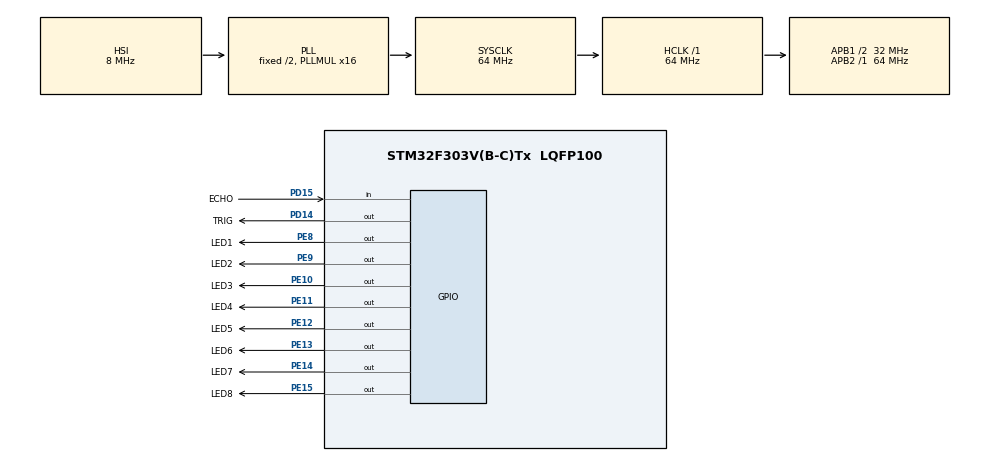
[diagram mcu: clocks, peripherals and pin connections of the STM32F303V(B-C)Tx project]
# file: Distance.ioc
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Mcu.Family=STM32F3
Mcu.Name=STM32F303V(B-C)Tx
Mcu.Package=LQFP100
NVIC.PriorityGroup=NVIC_PRIORITYGROUP_4
NVIC.TIM6_DAC_IRQn=true\:0\:0\:false\:false\:true\:true
PD14.GPIO_Label=TRIG
PD14.Signal=GPIO_Output
PD15.GPIO_Label=ECHO
PD15.Signal=GPIO_Input
PE10.GPIO_Label=LED3
PE10.Signal=GPIO_Output
PE11.GPIO_Label=LED4
PE11.Signal=GPIO_Output
PE12.GPIO_Label=LED5
PE12.Signal=GPIO_Output
PE13.GPIO_Label=LED6
PE13.Signal=GPIO_Output
PE14.GPIO_Label=LED7
PE14.Signal=GPIO_Output
PE15.GPIO_Label=LED8
PE15.Signal=GPIO_Output
PE8.GPIO_Label=LED1
PE8.Signal=GPIO_Output
PE9.GPIO_Label=LED2
PE9.Signal=GPIO_Output
ProjectManager.HeapSize=0x200
ProjectManager.StackSize=0x400
ProjectManager.TargetToolchain=SW4STM32
RCC.AHBFreq_Value=64000000
RCC.APB1CLKDivider=RCC_HCLK_DIV2
RCC.APB1Freq_Value=32000000
RCC.APB1TimFreq_Value=64000000
RCC.APB2Freq_Value=64000000
RCC.APB2TimFreq_Value=64000000
RCC.CortexFreq_Value=64000000
RCC.HCLKFreq_Value=64000000
RCC.HSE_VALUE=8000000
RCC.HSI_VALUE=8000000
RCC.LSE_VALUE=32768
RCC.PLLMUL=RCC_PLL_MUL16
RCC.SYSCLKFreq_VALUE=64000000
RCC.SYSCLKSourceVirtual=RCC_SYSCLKSOURCE_PLLCLK
RCC.USBFreq_Value=64000000
TIM6.Period=10000
TIM6.Prescaler=63
VP_TIM6_VS_ClockSourceINT.Mode=Enable_Timer
board=Distance

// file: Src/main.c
/**
  ******************************************************************************
  * File Name          : main.c
  * Description        : Main program body
  ******************************************************************************
  ** This notice applies to any and all portions of this file
  * that are not between comment pairs USER CODE BEGIN and
  * USER CODE END. Other portions of this file, whether
  * inserted by the user or by software development tools
  * are owned by their respective copyright owners.
  *
  * COPYRIGHT(c) 2017 STMicroelectronics
  *
  * Redistribution and use in source and binary forms, with or without modification,
  * are permitted provided that the following conditions are met:
  *   1. Redistributions of source code must retain the above copyright notice,
  *      this list of conditions and the following disclaimer.
  *   2. Redistributions in binary form must reproduce the above copyright notice,
  *      this list of conditions and the following disclaimer in the documentation
  *      and/or other materials provided with the distribution.
  *   3. Neither the name of STMicroelectronics nor the names of its contributors
  *      may be used to endorse or promote products derived from this software
  *      without specific prior written permission.
  *
  * THIS SOFTWARE IS PROVIDED BY THE COPYRIGHT HOLDERS AND CONTRIBUTORS "AS IS"
  * AND ANY EXPRESS OR IMPLIED WARRANTIES, INCLUDING, BUT NOT LIMITED TO, THE
  * IMPLIED WARRANTIES OF MERCHANTABILITY AND FITNESS FOR A PARTICULAR PURPOSE ARE
  * DISCLAIMED. IN NO EVENT SHALL THE COPYRIGHT HOLDER OR CONTRIBUTORS BE LIABLE
  * FOR ANY DIRECT, INDIRECT, INCIDENTAL, SPECIAL, EXEMPLARY, OR CONSEQUENTIAL
  * DAMAGES (INCLUDING, BUT NOT LIMITED TO, PROCUREMENT OF SUBSTITUTE GOODS OR
  * SERVICES; LOSS OF USE, DATA, OR PROFITS; OR BUSINESS INTERRUPTION) HOWEVER
  * CAUSED AND ON ANY THEORY OF LIABILITY, WHETHER IN CONTRACT, STRICT LIABILITY,
  * OR TORT (INCLUDING NEGLIGENCE OR OTHERWISE) ARISING IN ANY WAY OUT OF THE USE
  * OF THIS SOFTWARE, EVEN IF ADVISED OF THE POSSIBILITY OF SUCH DAMAGE.
  *
  ******************************************************************************
  */
#include "main.h"
#include "stm32f3xx_hal.h"
#include "tim.h"
#include "gpio.h"
#define SystemCoreClockInMHz (SystemCoreClock/1000000)

/* USER CODE BEGIN PV */
/* Private variables ---------------------------------------------------------*/

/* USER CODE END PV */

void SystemClock_Config(void);

/* USER CODE BEGIN PFP */
/* Private function prototypes -----------------------------------------------*/
volatile uint32_t tim6_overflows = 0;
int leds[8] = {LED1_Pin, LED2_Pin, LED3_Pin, LED4_Pin, LED5_Pin, LED6_Pin, LED7_Pin, LED8_Pin};

void light(int num) {
	for (int i=0; i<8; i++) {
		HAL_GPIO_WritePin(GPIOE, leds[i], GPIO_PIN_RESET);
	}
	for (int i=0; i<num; i++) {
		HAL_GPIO_WritePin(GPIOE, leds[i], GPIO_PIN_SET);
	}
}

void HAL_TIM_PeriodElapsedCallback(TIM_HandleTypeDef *htim) {
	if( htim->Instance == TIM6 ) {
		++tim6_overflows;
	}
}

inline void TIM6_reinit() {
	HAL_TIM_Base_Stop(&htim6);
    __HAL_TIM_SET_PRESCALER( &htim6, (SystemCoreClockInMHz-1) );
    __HAL_TIM_SET_COUNTER( &htim6, 0 );
    tim6_overflows = 0;
    HAL_TIM_Base_Start(&htim6);
}

inline uint32_t TIM6_time() {
	__HAL_TIM_DISABLE_IT(&htim6, TIM_IT_UPDATE);
	uint32_t res = tim6_overflows * 10000 + __HAL_TIM_GET_COUNTER(&htim6);
	__HAL_TIM_ENABLE_IT(&htim6, TIM_IT_UPDATE);
	return res;
}

inline void TIM6_delay(uint32_t useconds) {
	uint32_t start = TIM6_time();
	while(TIM6_time() < start+useconds) {
	}
}

/* USER CODE END PFP */

int main(void)
{

  /* USER CODE BEGIN 1 */
	extern void initialise_monitor_handles(void);
	initialise_monitor_handles();
  /* USER CODE END 1 */

  /* MCU Configuration----------------------------------------------------------*/

  /* Reset of all peripherals, Initializes the Flash interface and the Systick. */
  HAL_Init();

  /* Configure the system clock */
  SystemClock_Config();

  /* Initialize all configured peripherals */
  MX_GPIO_Init();
  MX_TIM6_Init();

  /* Infinite loop */
  /* USER CODE BEGIN WHILE */
  while (1) {
	  HAL_GPIO_WritePin(TRIG_GPIO_Port, TRIG_Pin, GPIO_PIN_SET);
	  TIM6_delay(16);
	  HAL_GPIO_WritePin(TRIG_GPIO_Port, TRIG_Pin, GPIO_PIN_RESET);

	  while(HAL_GPIO_ReadPin(ECHO_GPIO_Port, ECHO_Pin) == GPIO_PIN_RESET ) {
	  }
	  uint32_t start = TIM6_time();
	  while(HAL_GPIO_ReadPin(ECHO_GPIO_Port, ECHO_Pin) == GPIO_PIN_SET ) {
	  }
	  uint32_t pulse_time = TIM6_time() - start;
	  printf("Time: %lu us\n", pulse_time);
  /* USER CODE END WHILE */

  }

}

/** System Clock Configuration
*/
void SystemClock_Config(void)
{

  RCC_OscInitTypeDef RCC_OscInitStruct;
  RCC_ClkInitTypeDef RCC_ClkInitStruct;

    /**Initializes the CPU, AHB and APB busses clocks
    */
  RCC_OscInitStruct.OscillatorType = RCC_OSCILLATORTYPE_HSI;
  RCC_OscInitStruct.HSIState = RCC_HSI_ON;
  RCC_OscInitStruct.HSICalibrationValue = 16;
  RCC_OscInitStruct.PLL.PLLState = RCC_PLL_ON;
  RCC_OscInitStruct.PLL.PLLSource = RCC_PLLSOURCE_HSI;
  RCC_OscInitStruct.PLL.PLLMUL = RCC_PLL_MUL16;
  if (HAL_RCC_OscConfig(&RCC_OscInitStruct) != HAL_OK)
  {
    _Error_Handler(__FILE__, __LINE__);
  }

    /**Initializes the CPU, AHB and APB busses clocks
    */
  RCC_ClkInitStruct.ClockType = RCC_CLOCKTYPE_HCLK|RCC_CLOCKTYPE_SYSCLK
                              |RCC_CLOCKTYPE_PCLK1|RCC_CLOCKTYPE_PCLK2;
  RCC_ClkInitStruct.SYSCLKSource = RCC_SYSCLKSOURCE_PLLCLK;
  RCC_ClkInitStruct.AHBCLKDivider = RCC_SYSCLK_DIV1;
  RCC_ClkInitStruct.APB1CLKDivider = RCC_HCLK_DIV2;
  RCC_ClkInitStruct.APB2CLKDivider = RCC_HCLK_DIV1;

  if (HAL_RCC_ClockConfig(&RCC_ClkInitStruct, FLASH_LATENCY_2) != HAL_OK)
  {
    _Error_Handler(__FILE__, __LINE__);
  }

    /**Configure the Systick interrupt time
    */
  HAL_SYSTICK_Config(HAL_RCC_GetHCLKFreq()/1000);

    /**Configure the Systick
    */
  HAL_SYSTICK_CLKSourceConfig(SYSTICK_CLKSOURCE_HCLK);

  /* SysTick_IRQn interrupt configuration */
  HAL_NVIC_SetPriority(SysTick_IRQn, 0, 0);
}

void _Error_Handler(char * file, int line)
{
  while(1)
  {
  }
}

/************************ (C) COPYRIGHT STMicroelectronics *****END OF FILE****/
